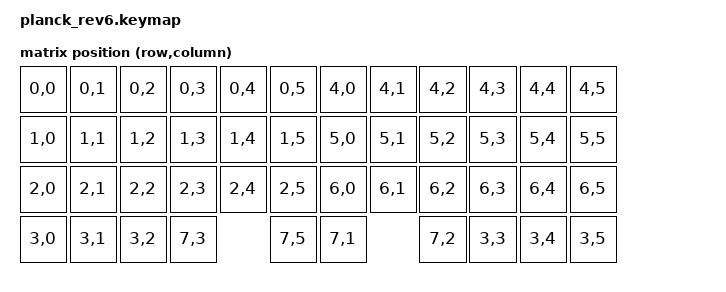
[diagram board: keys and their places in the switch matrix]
#include "zmk-helpers/key-labels/4x12.h"

#define TBLE_DUAL_2U
#define BLANK

/* Map Blank Slate / Planck extra keys */
#define X_LOD &kp LCTRL
#define X_LID &kp LGUI
#define X_RID &mt LGUI MINUS
#define X_ROD &mt LCTRL EQUAL
#define X_LOM &trans
#define X_LIM &none
#define X_RIM &kp LC(DOWN)
#define X_ROM &kp LC(UP)
#define X_LOW &trans
#define X_LIW &none
#define X_RIW &none
#define X_ROW &kp LG(TAB)
#define X_LO &none
#define X_LI &none
#define X_RI &none
#define X_RO &none

/ {
    planck_dual_2u_transform: planck_dual_2u_transform {
        compatible = "zmk,matrix-transform";
        columns = <6>;
        rows = <8>;
        map = <
            // Physical Row 0 (Top Alphas)
            RC(0,0) RC(0,1) RC(0,2) RC(0,3) RC(0,4) RC(0,5) RC(4,0) RC(4,1) RC(4,2) RC(4,3) RC(4,4) RC(4,5)
            // Physical Row 1 (Home Row)
            RC(1,0) RC(1,1) RC(1,2) RC(1,3) RC(1,4) RC(1,5) RC(5,0) RC(5,1) RC(5,2) RC(5,3) RC(5,4) RC(5,5)
            // Physical Row 2 (Bottom Alphas)
            RC(2,0) RC(2,1) RC(2,2) RC(2,3) RC(2,4) RC(2,5) RC(6,0) RC(6,1) RC(6,2) RC(6,3) RC(6,4) RC(6,5)
            // Physical Row 3 (10-Key Bottom 2x2U Layout - Fully Decoded)
            RC(3,0) RC(3,1) RC(3,2) RC(7,3)         RC(7,5) RC(7,1)         RC(7,2) RC(3,3) RC(3,4) RC(3,5)
        >;
    };

    chosen {
        zmk,matrix-transform = &planck_dual_2u_transform;
    };
};
#include "base.keymap"
